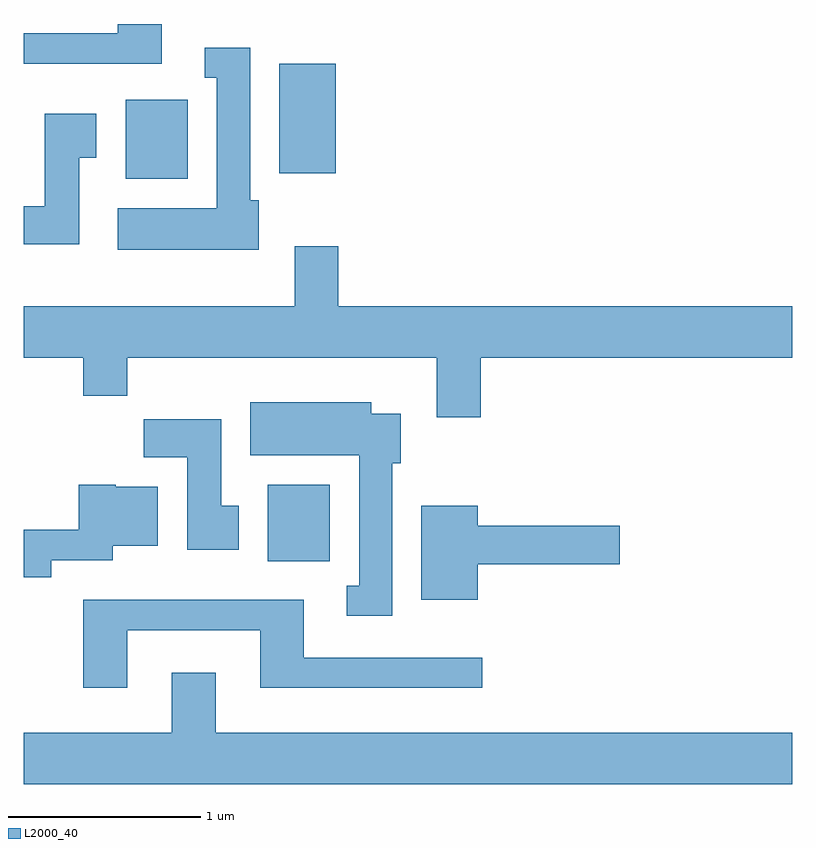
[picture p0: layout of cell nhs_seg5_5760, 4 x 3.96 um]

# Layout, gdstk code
import gdstk
lib = gdstk.Library(unit=1e-6, precision=1e-09)
def R(c, l, rs):  # rectangles x0, y0, x1, y1
    for r in rs: c.add(gdstk.rectangle(r[:2], r[2:], *l))
def P(c, l, *ps):  # polygons
    for p in ps: c.add(gdstk.Polygon(p, *l))
L2000_40 = (2000, 40)

nhs_seg5_5760 = lib.new_cell('nhs_seg5_5760')
R(nhs_seg5_5760, L2000_40, [(356.881,1471.276,357.204,1471.674), (356.141,1473.266,356.464,1473.679), (356.941,1473.296,357.234,1473.864)])
P(nhs_seg5_5760, L2000_40, [(356.329,1474.072),(356.101,1474.072),(356.101,1474.024),(355.611,1474.024),(355.611,1473.866),(356.329,1473.866)],
  [(356.834,1473.154),(356.789,1473.154),(356.789,1473.949),(356.553,1473.949),(356.553,1473.791),(356.616,1473.791),(356.616,1473.114),(356.101,1473.114),(356.101,1472.896),(356.834,1472.896)],
  [(355.899,1473.376),(355.989,1473.376),(355.989,1473.604),(355.721,1473.604),(355.721,1473.124),(355.611,1473.124),(355.611,1472.926),(355.899,1472.926)],
  [(357.989,1472.336),(359.611,1472.336),(359.611,1472.604),(357.249,1472.604),(357.249,1472.914),(357.021,1472.914),(357.021,1472.604),(355.611,1472.604),(355.611,1472.336),(355.921,1472.336),(355.921,1472.136),(356.149,1472.136),(356.149,1472.336),(357.761,1472.336),(357.761,1472.026),(357.989,1472.026)],
  [(357.529,1471.786),(357.574,1471.786),(357.574,1472.044),(357.419,1472.044),(357.419,1472.104),(356.791,1472.104),(356.791,1471.826),(357.356,1471.826),(357.356,1471.149),(357.293,1471.149),(357.293,1470.991),(357.529,1470.991)],
  [(356.729,1471.564),(356.639,1471.564),(356.639,1472.014),(356.236,1472.014),(356.236,1471.816),(356.461,1471.816),(356.461,1471.336),(356.729,1471.336)],
  [(355.754,1471.281),(356.074,1471.281),(356.074,1471.356),(356.309,1471.356),(356.309,1471.664),(356.09,1471.664),(356.09,1471.674),(355.896,1471.674),(355.896,1471.439),(355.611,1471.439),(355.611,1471.191),(355.754,1471.191)],
  [(357.974,1471.261),(358.714,1471.261),(358.714,1471.459),(357.974,1471.459),(357.974,1471.564),(357.681,1471.564),(357.681,1471.076),(357.974,1471.076)],
  [(356.149,1470.916),(356.841,1470.916),(356.841,1470.616),(357.998,1470.616),(357.998,1470.774),(357.069,1470.774),(357.069,1471.074),(355.921,1471.074),(355.921,1470.616),(356.149,1470.616)],
  [(359.611,1470.384),(356.609,1470.384),(356.609,1470.694),(356.381,1470.694),(356.381,1470.384),(355.611,1470.384),(355.611,1470.116),(359.611,1470.116)])

lib.write_gds('nhs_seg5_5760.gds')
